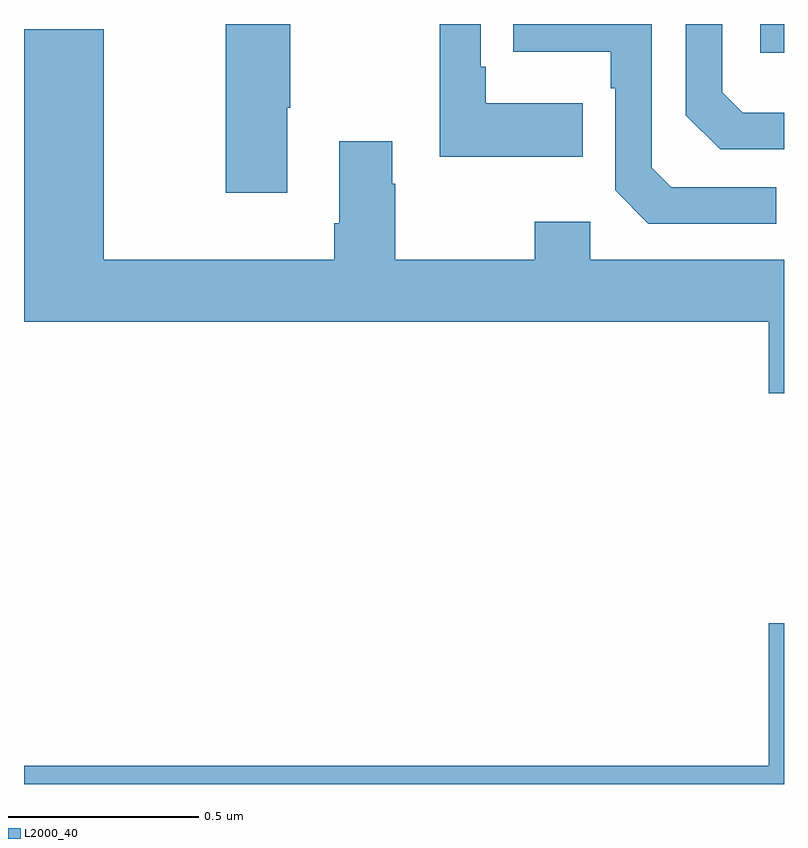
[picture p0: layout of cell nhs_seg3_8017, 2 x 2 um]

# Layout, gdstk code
import gdstk
lib = gdstk.Library(unit=1e-6, precision=1e-09)
def R(c, l, rs):  # rectangles x0, y0, x1, y1
    for r in rs: c.add(gdstk.rectangle(r[:2], r[2:], *l))
def P(c, l, *ps):  # polygons
    for p in ps: c.add(gdstk.Polygon(p, *l))
L2000_40 = (2000, 40)

nhs_seg3_8017 = lib.new_cell('nhs_seg3_8017')
R(nhs_seg3_8017, L2000_40, [(212.937,668.324,213,668.4)])
P(nhs_seg3_8017, L2000_40, [(212.98,667.971),(212.703,667.971),(212.652,668.022),(212.652,668.4),(212.287,668.4),(212.287,668.327),(212.544,668.327),(212.544,668.231),(212.556,668.231),(212.556,667.962),(212.643,667.875),(212.98,667.875)],
  [(211.693,668.179),(211.701,668.179),(211.701,668.4),(211.538,668.4),(211.538,668.399),(211.531,668.399),(211.531,667.956),(211.693,667.956)],
  [(212.471,668.191),(212.215,668.191),(212.215,668.287),(212.202,668.287),(212.202,668.4),(212.094,668.4),(212.094,668.051),(212.471,668.051)],
  [(213,668.167),(212.891,668.167),(212.838,668.22),(212.838,668.4),(212.742,668.4),(212.742,668.16),(212.832,668.07),(213,668.07)],
  [(213,667.78),(212.49,667.78),(212.49,667.879),(212.344,667.879),(212.344,667.78),(211.977,667.78),(211.977,667.979),(211.969,667.979),(211.969,668.092),(211.829,668.092),(211.829,667.876),(211.817,667.876),(211.817,667.78),(211.21,667.78),(211.21,668.386),(211,668.386),(211,667.616),(212.96,667.616),(212.96,667.428),(213,667.428)],
  [(213,666.823),(212.96,666.823),(212.96,666.448),(211,666.448),(211,666.4),(213,666.4)])

lib.write_gds('nhs_seg3_8017.gds')
